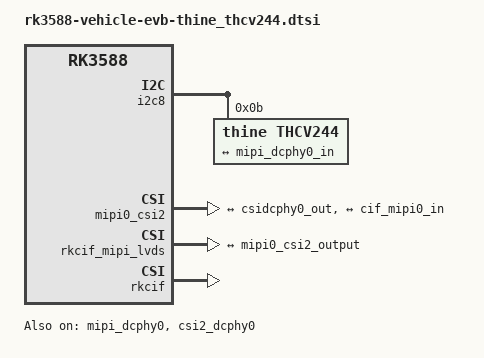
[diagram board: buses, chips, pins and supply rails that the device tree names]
// SPDX-License-Identifier: (GPL-2.0+ OR MIT)
/*
 * Copyright (c) 2022 Rockchip Electronics Co., Ltd.
 *
 */

&mipi_dcphy0 {
	status = "okay";
};

&csi2_dcphy0 {
	status = "okay";

	ports {
		#address-cells = <1>;
		#size-cells = <0>;
		port@0 {
			reg = <0>;
			#address-cells = <1>;
			#size-cells = <0>;

			mipi_dcphy0_in: endpoint@1 {
				reg = <1>;
				remote-endpoint = <&thcv244_out>;
				data-lanes = <1 2 3 4>;
			};
		};
		port@1 {
			reg = <1>;
			#address-cells = <1>;
			#size-cells = <0>;

			csidcphy0_out: endpoint@0 {
				reg = <0>;
				remote-endpoint = <&mipi0_csi2_input>;
			};
		};
	};
};

&i2c8 {
	status = "okay";
	pinctrl-names = "default";
	pinctrl-0 = <&i2c8m2_xfer>;

	thcv244: thcv244@b {
		compatible = "thine,thcv244";
		status = "okay";
		reg = <0xb>;
		// clocks = <&cru CLK_MIPI_CAMARAOUT_M1>;
		// clock-names = "xvclk";
		// power-domains = <&power RK3588_PD_VI>;
		// pinctrl-names = "default";
		// pinctrl-0 = <&mipim0_camera1_clk>;
		// rockchip,grf = <&sys_grf>;
		/*power-gpios = <&gpio3 RK_PC6 GPIO_ACTIVE_HIGH>;*/
		// reset-gpios = <&gpio3 RK_PA0 GPIO_ACTIVE_HIGH>;
		rockchip,camera-module-index = <0>;
		rockchip,camera-module-facing = "back";
		rockchip,camera-module-name = "thcv244";
		rockchip,camera-module-lens-name = "thcv244";

		port {
			thcv244_out: endpoint {
				remote-endpoint = <&mipi_dcphy0_in>;
				data-lanes = <1 2 3 4>;
			};
		};
	};
};

&mipi0_csi2 {
	status = "okay";

	ports {
		#address-cells = <1>;
		#size-cells = <0>;

		port@0 {
			reg = <0>;
			#address-cells = <1>;
			#size-cells = <0>;

			mipi0_csi2_input: endpoint@1 {
				reg = <1>;
				remote-endpoint = <&csidcphy0_out>;
			};
		};

		port@1 {
			reg = <1>;
			#address-cells = <1>;
			#size-cells = <0>;

			mipi0_csi2_output: endpoint@0 {
				reg = <0>;
				remote-endpoint = <&cif_mipi0_in>;
			};
		};
	};
};

&rkcif_mipi_lvds {
	status = "okay";
	/* parameters for do cif reset detecting:
	 * index0: monitor mode,
		   0 for idle,
		   1 for continue,
		   2 for trigger,
		   3 for hotplug (for nextchip)
	 * index1: the frame id to start timer,
		   min is 2
	 * index2: frame num of monitoring cycle
	 * index3: err time for keep monitoring
		   after finding out err (ms)
	 * index4: csi2 err reference val for resetting
	 */
	rockchip,cif-monitor = <3 2 1 1000 5>;

	port {
		cif_mipi0_in: endpoint {
			remote-endpoint = <&mipi0_csi2_output>;
		};
	};
};

&rkcif {
	status = "okay";
	rockchip,android-usb-camerahal-enable;
};

&rkcif_mmu {
	status = "okay";
};
